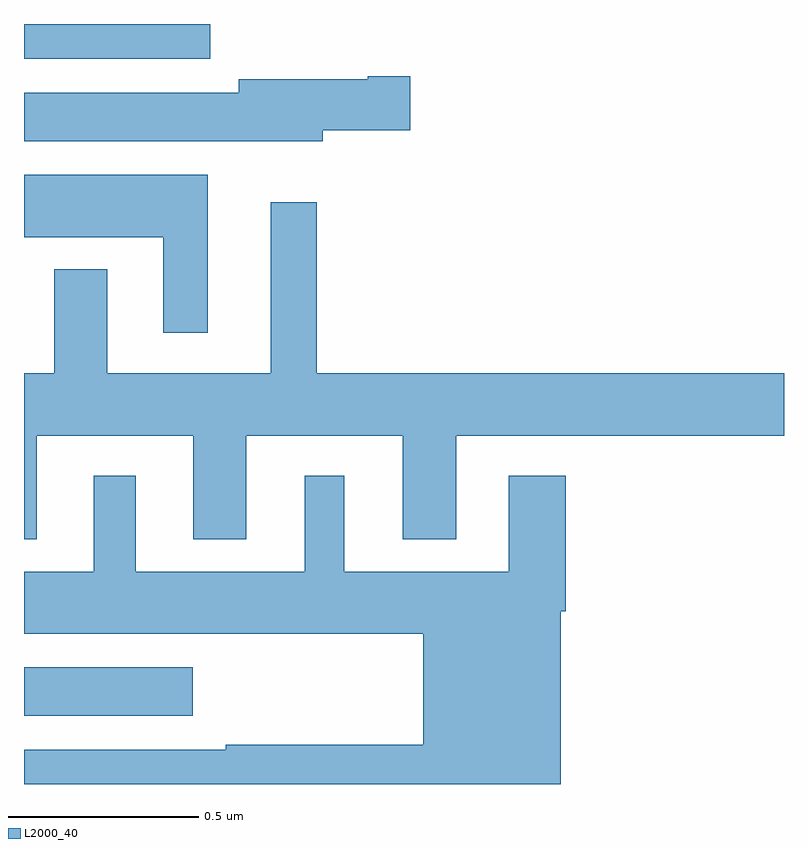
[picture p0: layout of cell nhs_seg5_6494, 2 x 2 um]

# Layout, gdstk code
import gdstk
lib = gdstk.Library(unit=1e-6, precision=1e-09)
def R(c, l, rs):  # rectangles x0, y0, x1, y1
    for r in rs: c.add(gdstk.rectangle(r[:2], r[2:], *l))
def P(c, l, *ps):  # polygons
    for p in ps: c.add(gdstk.Polygon(p, *l))
L2000_40 = (2000, 40)

nhs_seg5_6494 = lib.new_cell('nhs_seg5_6494')
R(nhs_seg5_6494, L2000_40, [(196,899.978,196.444,900.106), (196,901.707,196.49,901.799)])
P(nhs_seg5_6494, L2000_40, [(196.786,901.52),(197.017,901.52),(197.017,901.662),(196.904,901.662),(196.904,901.654),(196.565,901.654),(196.565,901.618),(196,901.618),(196,901.49),(196.786,901.49)],
  [(196.483,901.402),(196,901.402),(196,901.238),(196.367,901.238),(196.367,900.987),(196.483,900.987)],
  [(196.033,900.716),(196.445,900.716),(196.445,900.443),(196.585,900.443),(196.585,900.716),(196.997,900.716),(196.997,900.443),(197.137,900.443),(197.137,900.716),(198,900.716),(198,900.88),(196.771,900.88),(196.771,901.33),(196.649,901.33),(196.649,900.88),(196.219,900.88),(196.219,901.153),(196.079,901.153),(196.079,900.88),(196,900.88),(196,900.443),(196.033,900.443)],
  [(197.413,900.254),(197.426,900.254),(197.426,900.61),(197.276,900.61),(197.276,900.358),(196.843,900.358),(196.843,900.61),(196.739,900.61),(196.739,900.358),(196.294,900.358),(196.294,900.61),(196.184,900.61),(196.184,900.358),(196,900.358),(196,900.194),(197.051,900.194),(197.051,899.902),(196.531,899.902),(196.531,899.889),(196,899.889),(196,899.799),(197.413,899.799)])

lib.write_gds('nhs_seg5_6494.gds')
